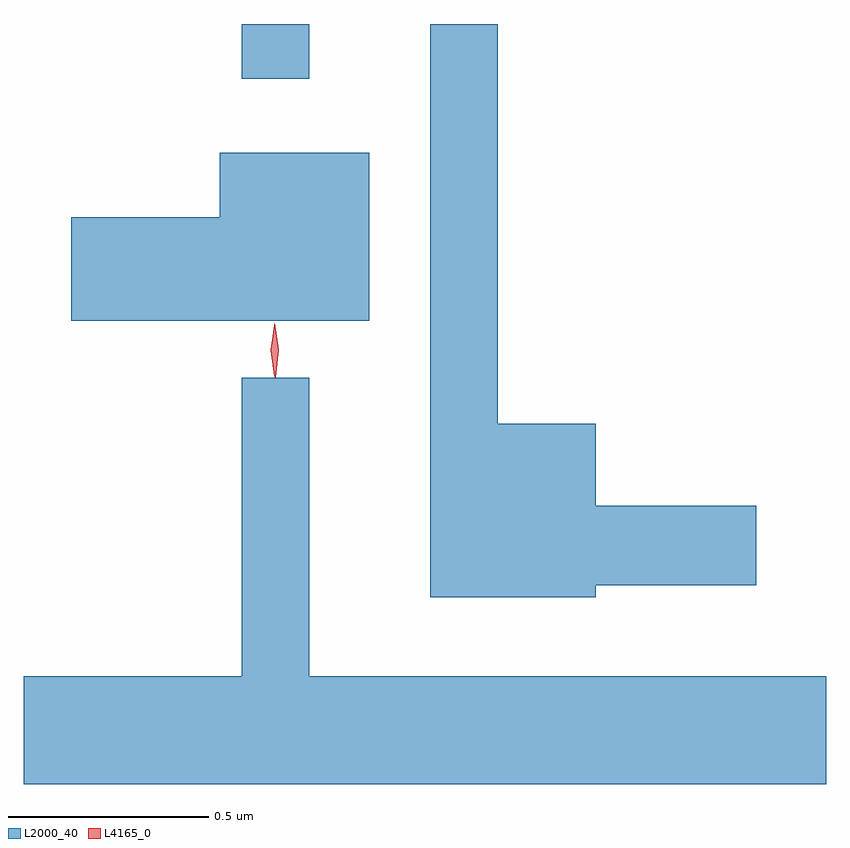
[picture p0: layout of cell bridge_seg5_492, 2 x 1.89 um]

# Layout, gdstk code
import gdstk
lib = gdstk.Library(unit=1e-6, precision=1e-09)
def R(c, l, rs):  # rectangles x0, y0, x1, y1
    for r in rs: c.add(gdstk.rectangle(r[:2], r[2:], *l))
def P(c, l, *ps):  # polygons
    for p in ps: c.add(gdstk.Polygon(p, *l))
L2000_40 = (2000, 40)
L4165_0 = (4165, 0)

bridge_seg5_492 = lib.new_cell('bridge_seg5_492')
R(bridge_seg5_492, L2000_40, [(510.611,1458.553,510.779,1458.69)])
P(bridge_seg5_492, L2000_40, [(511.494,1457.291),(511.894,1457.291),(511.894,1457.489),(511.494,1457.489),(511.494,1457.694),(511.249,1457.694),(511.249,1458.69),(511.081,1458.69),(511.081,1457.261),(511.494,1457.261)],
  [(510.929,1458.369),(510.556,1458.369),(510.556,1458.209),(510.186,1458.209),(510.186,1457.951),(510.929,1457.951)],
  [(512.068,1457.064),(510.779,1457.064),(510.779,1457.808),(510.611,1457.808),(510.611,1457.064),(510.068,1457.064),(510.068,1456.796),(512.068,1456.796)])
P(bridge_seg5_492, L4165_0, [(510.694,1457.81),(510.684,1457.878),(510.693,1457.945),(510.694,1457.946),(510.694,1457.945),(510.704,1457.878),(510.696,1457.81),(510.695,1457.81)],
  [(510.692,1457.813),(510.683,1457.876),(510.692,1457.939),(510.693,1457.94),(510.693,1457.939),(510.703,1457.876),(510.693,1457.813),(510.693,1457.813)])

lib.write_gds('bridge_seg5_492.gds')
